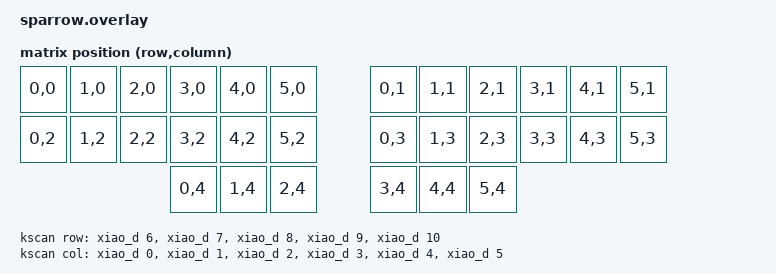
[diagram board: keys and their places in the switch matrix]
/*
 * Copyright (c) 2023 The ZMK Contributors
 *
 * SPDX-License-Identifier: MIT
 */

#include <dt-bindings/zmk/matrix_transform.h>

/ {
    chosen {
        zmk,kscan = &kscan;
        zmk,matrix_transform = &transform;
    };

    kscan: kscan {
        compatible = "zmk,kscan-gpio-matrix";
        label = "KSCAN";
        diode-direction = "col2row"; // Diodes point from columns to rows(cathodes are connected to rows)

        row-gpios = <&xiao_d 6 (GPIO_ACTIVE_HIGH | GPIO_PULL_DOWN)>, /* ROW_0 */
                    <&xiao_d 7 (GPIO_ACTIVE_HIGH | GPIO_PULL_DOWN)>, /* ROW_1 */
                    <&xiao_d 8 (GPIO_ACTIVE_HIGH | GPIO_PULL_DOWN)>, /* ROW_2 */
                    <&xiao_d 9 (GPIO_ACTIVE_HIGH | GPIO_PULL_DOWN)>, /* ROW_3 */
                    <&xiao_d 10 (GPIO_ACTIVE_HIGH | GPIO_PULL_DOWN)>; /* ROW_4 */

        col-gpios = <&xiao_d 0 (GPIO_ACTIVE_HIGH)>,  /* COL_0 */
                    <&xiao_d 1 (GPIO_ACTIVE_HIGH)>,  /* COL_1 */
                    <&xiao_d 2 (GPIO_ACTIVE_HIGH)>,  /* COL_2 */
                    <&xiao_d 3 (GPIO_ACTIVE_HIGH)>,  /* COL_3 */
                    <&xiao_d 4 (GPIO_ACTIVE_HIGH)>,  /* COL_4 */
                    <&xiao_d 5 (GPIO_ACTIVE_HIGH)>;  /* COL_5 */
    };

    transform: matrix_transform {
        compatible = "zmk,matrix-transform";
        rows = <5>;
        columns = <6>;
        map = <
            /*(col, row)*/
            RC(0,0) RC(1,0) RC(2,0) RC(3,0) RC(4,0) RC(5,0)   RC(0,1) RC(1,1) RC(2,1) RC(3,1) RC(4,1) RC(5,1)
            RC(0,2) RC(1,2) RC(2,2) RC(3,2) RC(4,2) RC(5,2)   RC(0,3) RC(1,3) RC(2,3) RC(3,3) RC(4,3) RC(5,3)
                                    RC(0,4) RC(1,4) RC(2,4)   RC(3,4) RC(4,4) RC(5,4)
        >;
    };    
};

&xiao_spi { status = "disabled"; };
&xiao_i2c { status = "disabled"; };
&xiao_serial { status = "disabled"; };
